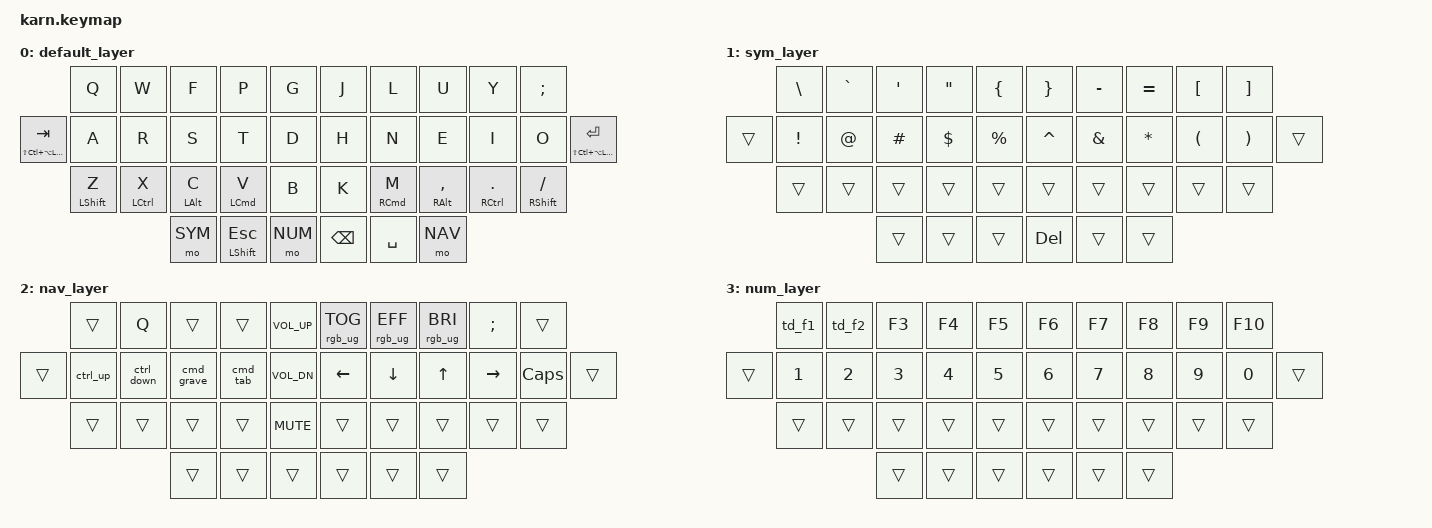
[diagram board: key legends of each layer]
#include <behaviors.dtsi>
#include <dt-bindings/zmk/keys.h>
#include <dt-bindings/zmk/rgb.h>

#define DEFAULT 0
#define SYM     1 
#define NAV     2 
#define NUM     3 

#define MO_TOG(layer) &mo_tog layer layer   // Macro to apply momentary-layer-on-hold/toggle-layer-on-tap to a specific layer
#define HYPER LS(LC(LA(LGUI)))


/ {
    behaviors {
        htt: hold_tap_tap_preferred {
            compatible = "zmk,behavior-hold-tap";
            label = "HOLD_TAP_TAP_PREFERRED";
            #binding-cells = <2>;
            tapping-term-ms = <200>;
            quick-tap-ms = <0>;
            flavor = "tap-preferred";
            bindings = <&kp>, <&kp>;
        };
        hth: hold_tap_hold_preferred {
            compatible = "zmk,behavior-hold-tap";
            label = "HOLD_TAP_HOLD_PREFERRED";
            #binding-cells = <2>;
            tapping-term-ms = <200>;
            quick-tap-ms = <0>;
            flavor = "hold-preferred";
            bindings = <&kp>, <&kp>;
        };
        mo_tog: behavior_mo_tog {
            compatible = "zmk,behavior-hold-tap";
            label = "mo_tog";
            #binding-cells = <2>;
            flavor = "hold-preferred";
            tapping-term-ms = <150>;
            bindings = <&mo>, <&tog>;
        };
        td_f1: tap_dance_f1 {
            compatible = "zmk,behavior-tap-dance";
            label = "tap_dance_f1";
            #binding-cells = <0>;
            tapping-term-ms = <200>;
            bindings = <&kp F1>, <&kp F11>;
        };
        td_f2: tap_dance_f2 {
            compatible = "zmk,behavior-tap-dance";
            label = "tap_dance_f2";
            #binding-cells = <0>;
            tapping-term-ms = <200>;
            bindings = <&kp F2>, <&kp F12>;
        };
    };

    macros {
        ctrl_up: ctrl_up {
            label = "ctrl_up";
            compatible = "zmk,behavior-macro";
            #binding-cells = <0>;
            bindings
                = <&macro_press &kp LCTRL>
                , <&macro_tap &kp UP>
                , <&macro_release &kp LCTRL>
                ;
        };
        ctrl_down: ctrl_down {
            label = "ctrl_down";
            compatible = "zmk,behavior-macro";
            #binding-cells = <0>;
            bindings
                = <&macro_press &kp LCTRL>
                , <&macro_tap &kp DOWN>
                , <&macro_release &kp LCTRL>
                ;
        };
        cmd_grave: cmd_grave {
            label = "cmd_grave";
            compatible = "zmk,behavior-macro";
            #binding-cells = <0>;
            bindings
                = <&macro_press &kp LCMD>
                , <&macro_tap &kp GRAVE>
                , <&macro_release &kp LCMD>
                ;
        };
        cmd_tab: cmd_tab {
            label = "cmd_tab";
            compatible = "zmk,behavior-macro";
            #binding-cells = <0>;
            bindings
                = <&macro_press &kp LCMD>
                , <&macro_tap &kp TAB>
                , <&macro_release &kp LCMD>
                ;
        };

    };

    keymap {
        compatible = "zmk,keymap";

        default_layer {
            bindings = <
                &kp Q         &kp W        &kp F       &kp P           &kp G     &kp J    &kp L       &kp U           &kp Y          &kp SEMI
 &hth HYPER TAB &kp A         &kp R        &kp S       &kp T           &kp D     &kp H    &kp N       &kp E           &kp I          &kp O           &hth HYPER ENTER
                &hth LSHIFT Z &htt LCTRL X &htt LALT C &htt LCMD V     &kp B     &kp K    &htt RCMD M &htt RALT COMMA &htt RCTRL DOT &hth RSHIFT FSLH
                                           &mo SYM     &hth LSHIFT ESC &mo NUM   &kp BSPC &kp SPC     &mo NAV
            >;
        };

        sym_layer {
            bindings = <
            &kp BSLH &kp GRAVE &kp SQT  &kp DQT  &kp LBRC    &kp RBRC  &kp MINUS &kp EQUAL &kp LBKT &kp RBKT
    &trans  &kp EXCL &kp AT    &kp HASH &kp DLLR &kp PRCNT   &kp CARET &kp AMPS  &kp STAR  &kp LPAR &kp RPAR &trans
            &trans   &trans    &trans   &trans   &trans      &trans    &trans    &trans    &trans   &trans
                               &trans   &trans   &trans      &kp DEL   &trans    &trans
            >;
        };

        nav_layer {
            bindings = <
            &trans   &kp Q      &trans     &trans   &kp C_VOL_UP   &rgb_ug RGB_TOG &rgb_ug RGB_EFF &rgb_ug RGB_BRI &kp SEMI  &trans
    &trans  &ctrl_up &ctrl_down &cmd_grave &cmd_tab &kp C_VOL_DN   &kp LEFT        &kp DOWN        &kp UP          &kp RIGHT &kp CAPS &trans
            &trans   &trans     &trans     &trans   &kp K_MUTE     &trans          &trans          &trans          &trans    &trans
                                &trans     &trans   &trans         &trans          &trans          &trans
            >;
        };

        num_layer {
            bindings = <
            &td_f1 &td_f2 &kp F3 &kp F4 &kp F5   &kp F6 &kp F7 &kp F8 &kp F9 &kp F10
    &trans  &kp N1 &kp N2 &kp N3 &kp N4 &kp N5   &kp N6 &kp N7 &kp N8 &kp N9 &kp N0  &trans
            &trans &trans &trans &trans &trans   &trans &trans &trans &trans &trans
                          &trans &trans &trans   &trans &trans &trans
            >;
        };
    };
};
